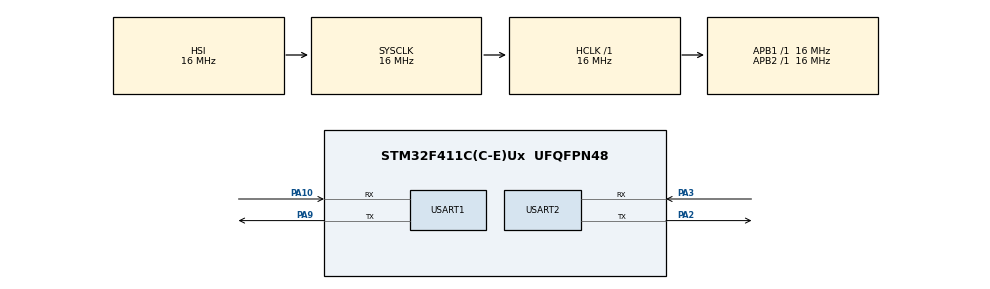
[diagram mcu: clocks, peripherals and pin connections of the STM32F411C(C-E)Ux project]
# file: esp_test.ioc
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Mcu.Family=STM32F4
Mcu.Name=STM32F411C(C-E)Ux
Mcu.Package=UFQFPN48
NVIC.PriorityGroup=NVIC_PRIORITYGROUP_4
NVIC.USART1_IRQn=true\:0\:0\:false\:false\:true\:true\:true\:true
PA10.Mode=Asynchronous
PA10.Signal=USART1_RX
PA13.Mode=Trace_Asynchronous_SW
PA13.Signal=SYS_JTMS-SWDIO
PA14.Mode=Trace_Asynchronous_SW
PA14.Signal=SYS_JTCK-SWCLK
PA2.Mode=Asynchronous
PA2.Signal=USART2_TX
PA3.Mode=Asynchronous
PA3.Signal=USART2_RX
PA9.Mode=Asynchronous
PA9.Signal=USART1_TX
PB3.Mode=Trace_Asynchronous_SW
PB3.Signal=SYS_JTDO-SWO
ProjectManager.HeapSize=0x200
ProjectManager.StackSize=0x400
ProjectManager.TargetToolchain=STM32CubeIDE
RCC.AHBFreq_Value=16000000
RCC.APB1Freq_Value=16000000
RCC.APB2Freq_Value=16000000
RCC.CortexFreq_Value=16000000
RCC.HSE_VALUE=25000000
RCC.HSI_VALUE=16000000
RCC.LSE_VALUE=32768
RCC.SYSCLKFreq_VALUE=16000000
RCC.VCOOutputFreq_Value=192000000
USART1.VirtualMode=VM_ASYNC
USART2.VirtualMode=VM_ASYNC
board=custom

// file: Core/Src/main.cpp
/* USER CODE BEGIN Header */
// comment for gh
/**
  ******************************************************************************
  * @file           : main.cpp
  * @brief          : Main program body
  ******************************************************************************
  * @attention
  *
  * Copyright (c) 2026 STMicroelectronics.
  * All rights reserved.
  *
  * This software is licensed under terms that can be found in the LICENSE file
  * in the root directory of this software component.
  * If no LICENSE file comes with this software, it is provided AS-IS.
  *
  ******************************************************************************
  */
/* USER CODE END Header */
#include "main.h"
#include <iostream>
#include <string>
#include <cstring>
#include <cstdio>
using std::string;

/* USER CODE BEGIN PD */

//Interfacing ESP8266 Wi-Fi with STM32F401CCUx
//NOTE: Serial is serial monitor with baud rate(9600)
//NOTE: Serial2 (TX2, RX2)is connected with ESP8266(RX,TX)respectively with baud rate (9600)
string webpage="";                                   //String variable to store characters
int i=0,k=0,x=0;                                         //integer variables
string readString;                                   //using readString feature to read characters

bool No_IP=false;                                 //bool variables
string IP="";                                         //String variable to store data
char temp1='0';                                      //character variable

string name="<p>Manodeep's Server</p><p>Server created using ESP01 and STM32F401CCUx</p>";   //String with html notations
string data="<p>Data Received Successfully.....</p>";     //String with html

/* Static message buffers placed here to avoid string literals inline */
static const char BUF_AT_CIPSEND[] = "AT+CIPSEND=0,";
static const char BUF_AT_CIPCLOSE[] = "AT+CIPCLOSE=0";
static const char BUF_AT[] = "AT";
static const char BUF_CWMODE[] = "AT+CWMODE=3";
static const char BUF_CWQAP[] = "AT+CWQAP";
static const char BUF_RST[] = "AT+RST";
static const char BUF_CWJAP[] = "AT+CWJAP=\"Jiyen's iPhone\",\"loquat1515\"";
static const char BUF_CIPMUX[] = "AT+CIPMUX=1";
static const char BUF_CIPSERVER[] = "AT+CIPSERVER=1,80";
static const char BUF_CIFSR[] = "AT+CIFSR";

static const char BUF_IP_ADDRESS[] = "IP Address:";
static const char BUF_PORT[] = "Port:";
static const char BUF_CONNECTING_WIFI[] = "Connecting Wifi....";
static const char BUF_WIFI_CONNECTED[] = "Wifi Connected";
static const char BUF_SYSTEM_READY[] = "System Ready..";
static const char BUF_REFRESH[] = "Please Refresh your Page";
static const char BUF_START_PRINTING[] = "Start Printing";
static const char BUF_DONE_PRINTING[] = "Done Printing";
static const char BUF_OK[] = "OK";
static const char BUF_ERROR[] = "Error";

/* USER CODE END PD */

UART_HandleTypeDef huart1;
UART_HandleTypeDef huart2;

/* Simple software RX buffers for polling reads (used to emulate Serial.available/find/read) */
#define SW_RX_BUF_SIZE 512
static uint8_t sw_rx2[SW_RX_BUF_SIZE];
static uint16_t sw_rx2_head = 0;
static uint16_t sw_rx2_tail = 0;

static uint8_t sw_rx1[SW_RX_BUF_SIZE/4];
static uint16_t sw_rx1_head = 0;
static uint16_t sw_rx1_tail = 0;

static inline uint16_t sw_count(uint16_t head, uint16_t tail, uint16_t size) {
  return (head + size - tail) % size;
}

static void sw_push(uint8_t *buf, uint16_t &head, uint16_t &tail, uint16_t size, uint8_t b) {
  buf[head] = b;
  head = (head + 1) % size;
  if (head == tail) { // overflow, advance tail
    tail = (tail + 1) % size;
  }
}

static int sw_pop(uint8_t *buf, uint16_t &head, uint16_t &tail, uint16_t size) {
  if (head == tail) return -1;
  uint8_t v = buf[tail];
  tail = (tail + 1) % size;
  return v;
}

// fill buffer from UART (non-blocking-ish): repeatedly try to receive bytes with 1ms timeout
static void sw_fill_from_uart(UART_HandleTypeDef *huart) {
  uint8_t b;
  HAL_StatusTypeDef st;
  // try to pull as many bytes as available (with tiny timeout)
  do {
    st = HAL_UART_Receive(huart, &b, 1, 1);
    if (st == HAL_OK) {
      if (huart == &huart2) sw_push(sw_rx2, sw_rx2_head, sw_rx2_tail, SW_RX_BUF_SIZE, b);
      else sw_push(sw_rx1, sw_rx1_head, sw_rx1_tail, SW_RX_BUF_SIZE/4, b);
    }
  } while (st == HAL_OK);
}

// returns number of bytes available in buffer (will attempt to read from UART first)
static int serial_available_uart(UART_HandleTypeDef *huart) {
  sw_fill_from_uart(huart);
  if (huart == &huart2) return sw_count(sw_rx2_head, sw_rx2_tail, SW_RX_BUF_SIZE);
  return sw_count(sw_rx1_head, sw_rx1_tail, SW_RX_BUF_SIZE/4);
}

// read one byte from buffer, returns -1 if none
static int serial_read_byte_uart(UART_HandleTypeDef *huart) {
  if (huart == &huart2) return sw_pop(sw_rx2, sw_rx2_head, sw_rx2_tail, SW_RX_BUF_SIZE);
  return sw_pop(sw_rx1, sw_rx1_head, sw_rx1_tail, SW_RX_BUF_SIZE/4);
}

// find pattern in buffer, reading from UART until timeout_ms expires. If found, advance tail to just after pattern and return 1.
static int serial_find_uart(UART_HandleTypeDef *huart, const char *pat, uint32_t timeout_ms) {
  uint32_t start = HAL_GetTick();
  size_t patlen = strlen(pat);
  if (patlen == 0) return 0;
  while (HAL_GetTick() - start <= timeout_ms) {
    sw_fill_from_uart(huart);
    // search buffer
    uint16_t head = (huart == &huart2) ? sw_rx2_head : sw_rx1_head;
    uint16_t tail = (huart == &huart2) ? sw_rx2_tail : sw_rx1_tail;
    uint16_t size = (huart == &huart2) ? SW_RX_BUF_SIZE : SW_RX_BUF_SIZE/4;
    uint16_t count = sw_count(head, tail, size);
    if (count >= (int)patlen) {
      // scan possible start positions
      for (uint16_t i = 0; i <= count - patlen; ++i) {
        bool ok = true;
        for (size_t j = 0; j < patlen; ++j) {
          uint16_t idx = (tail + i + j) % size;
          uint8_t c = (huart == &huart2) ? sw_rx2[idx] : sw_rx1[idx];
          if (c != (uint8_t)pat[j]) { ok = false; break; }
        }
        if (ok) {
          // advance tail to after pattern
          uint16_t newtail = (tail + i + patlen) % size;
          if (huart == &huart2) sw_rx2_tail = newtail; else sw_rx1_tail = newtail;
          return 1;
        }
      }
    }
    // small delay to wait for more bytes
    HAL_Delay(1);
  }
  return 0;
}

void SystemClock_Config(void);
static void MX_GPIO_Init(void);
static void MX_USART1_UART_Init(void);
static void MX_USART2_UART_Init(void);

/* USER CODE BEGIN 0 */
/* small helper wrappers for HAL UART transmit */
static void send_uart1(const char *msg)
{
  HAL_UART_Transmit(&huart1, (uint8_t*)msg, (uint16_t)strlen(msg), HAL_MAX_DELAY);
}
static void send_uart1_ln(const char *msg)
{
  send_uart1(msg);
  send_uart1("\r\n");
}
static void send_uart1_str(const string &s)
{
  HAL_UART_Transmit(&huart1, (uint8_t*)s.c_str(), (uint16_t)s.length(), HAL_MAX_DELAY);
  send_uart1("\r\n");
}
static void send_uart2(const char *msg)
{
  HAL_UART_Transmit(&huart2, (uint8_t*)msg, (uint16_t)strlen(msg), HAL_MAX_DELAY);
}
static void send_uart2_ln(const char *msg)
{
  send_uart2(msg);
  send_uart2("\r\n");
}
static void send_uart2_str(const string &s)
{
  HAL_UART_Transmit(&huart2, (uint8_t*)s.c_str(), (uint16_t)s.length(), HAL_MAX_DELAY);
  send_uart2("\r\n");
}
void sendwebdata(string webPage)                          //This function is used to send webpage datas to the localserver
{
    int ii=0;
     while(1)
     {
      unsigned int l=webPage.length();
      /* send AT+CIPSEND=0,<len> to both serial and esp */
      send_uart1(BUF_AT_CIPSEND);
      send_uart2(BUF_AT_CIPSEND);
      char numbuf[16];
      snprintf(numbuf, sizeof(numbuf), "%u", l+2);
      send_uart1_ln(numbuf);
      send_uart2_ln(numbuf);
      HAL_Delay(100);
      /* send webpage to monitor and to ESP (with CRLF) */
      send_uart1_str(webPage);
      send_uart2_str(webPage);
      if (serial_find_uart(&huart2, "OK", 200))
      {
        ii = 11;
      }
      if(ii==11)
      break;
      HAL_Delay(100);
     }
}
void Send()                                        //This function contains data to be sent to local server
{
      webpage = "<h1>Welcome to Manodeep's server</h1><body bgcolor=f0f0f0>";
      sendwebdata(webpage);
      webpage=name;
      sendwebdata(webpage);
      HAL_Delay(1000);
      webpage = "<a href=\"https://www.instructables.com/member/Manodeep/instructables/\"";
      webpage+="\">Click Here to see Manodeep's projects on Instructables</a>";
      webpage+=data;
      sendwebdata(webpage);
      send_uart2_ln(BUF_AT_CIPCLOSE);                  //Closes the server connection
}
void check4IP(int t1)                                     //A function to check ip of ESP8266
{
  uint32_t t2 = HAL_GetTick();
  while (t2 + (uint32_t)t1 > HAL_GetTick())
  {
    if (serial_find_uart(&huart2, "WIFI GOT IP", 10)) {
      No_IP = true;
      break;
    }
  }
}

void get_ip()                                           //After cheacking ip ,this is a function to get IP address
{
  IP="";
  char ch=0;
  while(1)
  {
    send_uart2_ln(BUF_CIFSR);                   //GET IP AT COMMAND
    if (serial_find_uart(&huart2, "STAIP,", 1000))                   //This finds the STAIP that is the STATIC IP ADDRESS of ESP8266
    {
      HAL_Delay(1000);
      /* print IPAddress:IP Port:80 on uart1 without extra newlines */
      send_uart1(BUF_IP_ADDRESS);
      int r;
      while ((r = serial_read_byte_uart(&huart2)) >= 0) {
        ch = (char)r;                      // read from sw buffer
        if (ch == '+') break;
        IP += ch;
      }
    }
    if(ch=='+')
    break;
    HAL_Delay(1000);
  }
  /* transmit IP and port on uart1 */
  if(!IP.empty())
    HAL_UART_Transmit(&huart1, (uint8_t*)IP.c_str(), (uint16_t)IP.length(), HAL_MAX_DELAY);
  send_uart1(BUF_PORT);
  char portbuf[8];
  snprintf(portbuf, sizeof(portbuf), "%d", 80);
  send_uart1_ln(portbuf);
}

void connect_wifi(string cmd, int t)                  //This function is for connecting ESP8266 with wifi network by using AT commands
{
  int temp=0,i=0;
  while(1)
  {
    /* send command to both uarts */
    send_uart1_str(cmd);
    send_uart2_str(cmd);
    if (serial_find_uart(&huart2, "OK", t))
      i = 8;
    HAL_Delay(t);
    if(i>5)
    break;
    i++;
  }
  if(i==8)
  send_uart1_ln(BUF_OK);
  else
  send_uart1_ln(BUF_ERROR);
}

void wifi_init()                                //This function contains AT commands that passes to connect_wifi()
{
      connect_wifi(BUF_AT,100);                   //Sends AT command with time(Command for Achknowledgement)
      connect_wifi(BUF_CWMODE,100);          //Sends AT command with time (For setting mode of Wifi)
      connect_wifi(BUF_CWQAP,100);            //Sends AT command with time (for Quit AP)
      connect_wifi(BUF_RST,5000);             //Sends AT command with time (For RESETTING WIFI)
      check4IP(5000);
      if(!No_IP)
      {
        send_uart1_ln(BUF_CONNECTING_WIFI);
        connect_wifi(BUF_CWJAP,7000);         //provide your WiFi username and password here
      }
      send_uart1_ln(BUF_WIFI_CONNECTED);
      get_ip();

      connect_wifi(BUF_CIPMUX,100);                          //Sends AT command with time (For creating multiple connections)
      connect_wifi(BUF_CIPSERVER,100);                    //Sends AT command with time (For setting up server with port 80)
}

/* USER CODE END 0 */

int main(void)
{

  /* USER CODE BEGIN 1 */
  /* moved Serial/UART initialization and wifi_init after HAL and MX_UART init so HAL UART APIs are safe to call */
  /* USER CODE END 1 */

  /* MCU Configuration--------------------------------------------------------*/

  /* Reset of all peripherals, Initializes the Flash interface and the Systick. */
  HAL_Init();

  /* Configure the system clock */
  SystemClock_Config();

  /* Initialize all configured peripherals */
  MX_GPIO_Init();
  MX_USART1_UART_Init();
  MX_USART2_UART_Init();
  /* USER CODE BEGIN 2 */
  /* initialize any Serial wrappers (if present) and start wifi */
  /* HAL UARTs are initialized by MX_USARTx_UART_Init(); Serial wrappers (if any) are not required.
     Removed Serial.begin/Serial2.begin to use HAL_UART_Transmit directly. */
  wifi_init();
  /* indicate ready */
  send_uart1_ln(BUF_SYSTEM_READY);

  /* USER CODE END 2 */

  /* Infinite loop */
  while (1)
  {
	  k=0;
    send_uart1_ln(BUF_REFRESH);
	  while(k<1000)
	  {
	    k++;
       if (serial_find_uart(&huart2, "0,CONNECT", 50))
       {
            send_uart1_ln(BUF_START_PRINTING);
          Send();
            send_uart1_ln(BUF_DONE_PRINTING);
          HAL_Delay(1000);
       }
	  HAL_Delay(1);
	 }
  }
}

void SystemClock_Config(void)
{
  RCC_OscInitTypeDef RCC_OscInitStruct = {0};
  RCC_ClkInitTypeDef RCC_ClkInitStruct = {0};

  /** Configure the main internal regulator output voltage
  */
  __HAL_RCC_PWR_CLK_ENABLE();
  __HAL_PWR_VOLTAGESCALING_CONFIG(PWR_REGULATOR_VOLTAGE_SCALE1);

  /** Initializes the RCC Oscillators according to the specified parameters
  * in the RCC_OscInitTypeDef structure.
  */
  RCC_OscInitStruct.OscillatorType = RCC_OSCILLATORTYPE_HSI;
  RCC_OscInitStruct.HSIState = RCC_HSI_ON;
  RCC_OscInitStruct.HSICalibrationValue = RCC_HSICALIBRATION_DEFAULT;
  RCC_OscInitStruct.PLL.PLLState = RCC_PLL_NONE;
  if (HAL_RCC_OscConfig(&RCC_OscInitStruct) != HAL_OK)
  {
    Error_Handler();
  }

  /** Initializes the CPU, AHB and APB buses clocks
  */
  RCC_ClkInitStruct.ClockType = RCC_CLOCKTYPE_HCLK|RCC_CLOCKTYPE_SYSCLK
                              |RCC_CLOCKTYPE_PCLK1|RCC_CLOCKTYPE_PCLK2;
  RCC_ClkInitStruct.SYSCLKSource = RCC_SYSCLKSOURCE_HSI;
  RCC_ClkInitStruct.AHBCLKDivider = RCC_SYSCLK_DIV1;
  RCC_ClkInitStruct.APB1CLKDivider = RCC_HCLK_DIV1;
  RCC_ClkInitStruct.APB2CLKDivider = RCC_HCLK_DIV1;

  if (HAL_RCC_ClockConfig(&RCC_ClkInitStruct, FLASH_LATENCY_0) != HAL_OK)
  {
    Error_Handler();
  }
}

static void MX_USART1_UART_Init(void)
{

  huart1.Instance = USART1;
  huart1.Init.BaudRate = 115200;
  huart1.Init.WordLength = UART_WORDLENGTH_8B;
  huart1.Init.StopBits = UART_STOPBITS_1;
  huart1.Init.Parity = UART_PARITY_NONE;
  huart1.Init.Mode = UART_MODE_TX_RX;
  huart1.Init.HwFlowCtl = UART_HWCONTROL_NONE;
  huart1.Init.OverSampling = UART_OVERSAMPLING_16;
  if (HAL_UART_Init(&huart1) != HAL_OK)
  {
    Error_Handler();
  }

}

static void MX_USART2_UART_Init(void)
{

  huart2.Instance = USART2;
  huart2.Init.BaudRate = 115200;
  huart2.Init.WordLength = UART_WORDLENGTH_8B;
  huart2.Init.StopBits = UART_STOPBITS_1;
  huart2.Init.Parity = UART_PARITY_NONE;
  huart2.Init.Mode = UART_MODE_TX_RX;
  huart2.Init.HwFlowCtl = UART_HWCONTROL_NONE;
  huart2.Init.OverSampling = UART_OVERSAMPLING_16;
  if (HAL_UART_Init(&huart2) != HAL_OK)
  {
    Error_Handler();
  }

}

static void MX_GPIO_Init(void)
{

  /* GPIO Ports Clock Enable */
  __HAL_RCC_GPIOA_CLK_ENABLE();
  __HAL_RCC_GPIOB_CLK_ENABLE();

}

void Error_Handler(void)
{
  __disable_irq();
  while (1)
  {
  }
}
